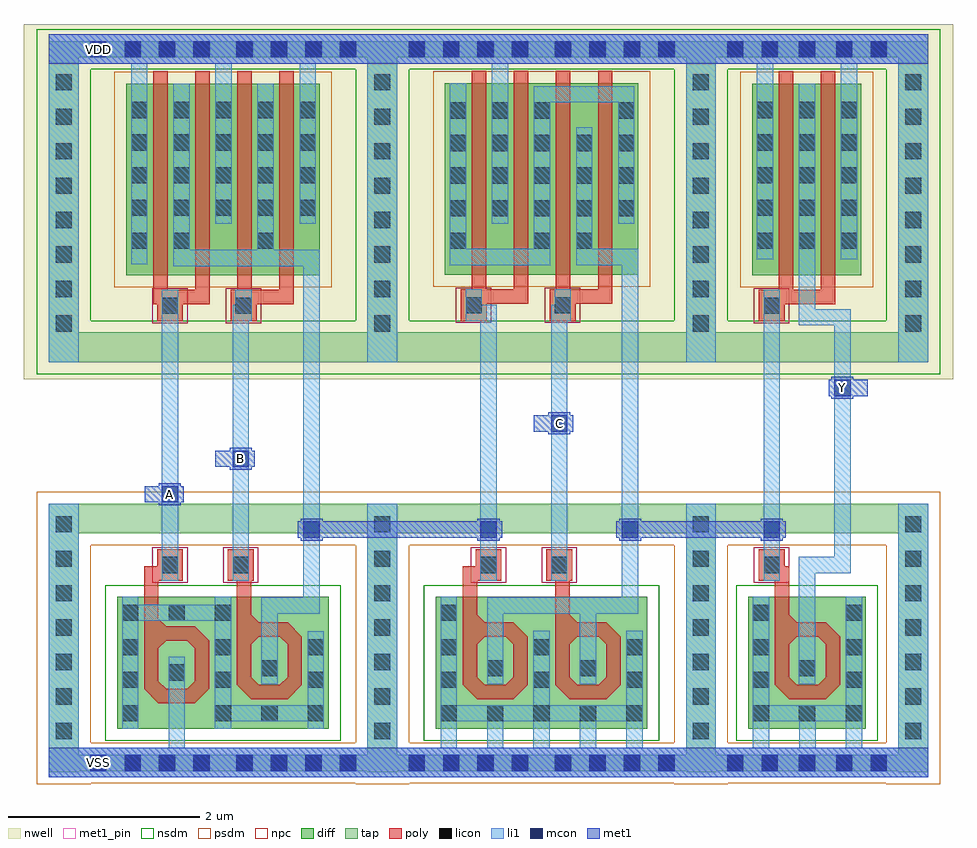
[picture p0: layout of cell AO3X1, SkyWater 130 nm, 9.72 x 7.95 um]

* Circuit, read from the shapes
.subckt AO3X1 A B C VDD VSS Y
XM1 n1 A VSS VSS sky130_fd_pr__nfet_01v8 w=2.6 l=0.149
XM2 n1 B n2 VSS sky130_fd_pr__nfet_01v8 w=2.56 l=0.1467
XM3 VSS n2 n3 VSS sky130_fd_pr__nfet_01v8 w=2.56 l=0.1451
XM4 VSS C n3 VSS sky130_fd_pr__nfet_01v8 w=2.56 l=0.1467
XM5 VSS n3 Y VSS sky130_fd_pr__nfet_01v8 w=2.56 l=0.1468
XM6 n2 A VDD VDD sky130_fd_pr__pfet_01v8 w=2 l=0.15 m=2
XM7 n2 B VDD VDD sky130_fd_pr__pfet_01v8 w=2 l=0.15 m=2
XM8 VDD n2 n4 VDD sky130_fd_pr__pfet_01v8 w=2 l=0.15 m=2
XM9 n3 C n4 VDD sky130_fd_pr__pfet_01v8 w=2 l=0.15 m=2
XM10 Y n3 VDD VDD sky130_fd_pr__pfet_01v8 w=2 l=0.15 m=2
.ends

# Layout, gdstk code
import gdstk
lib = gdstk.Library(unit=1e-6, precision=1e-09)
def R(c, l, rs):  # rectangles x0, y0, x1, y1
    for r in rs: c.add(gdstk.rectangle(r[:2], r[2:], *l))
def A(c, l, x, y, w, h, nx, ny, dx, dy):  # array of equal rectangles
    R(c, l, [(x+i*dx, y+j*dy, x+i*dx+w, y+j*dy+h) for i in range(nx) for j in range(ny)])
def P(c, l, *ps):  # polygons
    for p in ps: c.add(gdstk.Polygon(p, *l))
nwell = (64, 20)
diff = (65, 20)
tap = (65, 44)
poly = (66, 20)
licon = (66, 44)
li1 = (67, 20)
mcon = (67, 44)
met1_pin = (68, 16)
met1 = (68, 20)
nsdm = (93, 44)
psdm = (94, 20)
npc = (95, 20)

ao3x1 = lib.new_cell('AO3X1')
R(ao3x1, nwell, [(-0.42,4.16,9.3,7.875)])
R(ao3x1, diff, [(0.56,0.505,2.77,1.885), (3.89,0.505,6.1,1.885), (7.155,0.505,8.385,1.885), (0.655,5.25,2.675,7.25), (7.195,5.25,8.335,7.25), (3.985,5.255,6.005,7.255)])
A(ao3x1, tap, -0.155, 0.055, 0.31, 0.01, 3, 1, 3.33, 0)
A(ao3x1, tap, -0.155, 0.235, 0.31, 2.315, 3, 1, 3.33, 0)
A(ao3x1, tap, -0.155, 4.65, 0.31, 2.875, 3, 1, 3.33, 0)
R(ao3x1, tap, [(8.725,0.055,9.035,0.065), (-0.155,0.065,9.035,0.235), (8.725,0.235,9.035,2.55), (-0.155,2.55,9.035,2.86), (-0.155,4.34,9.035,4.65), (8.725,4.65,9.035,7.525), (-0.155,7.525,9.035,7.695)])
A(ao3x1, poly, 0.935, 5.095, 0.15, 2.285, 4, 1, 0.44, 0)
A(ao3x1, poly, 4.265, 5.1, 0.15, 2.285, 4, 1, 0.44, 0)
R(ao3x1, poly, [(0.99,0.775,1.37,0.925), (1.96,0.815,2.34,0.965), (4.32,0.815,4.7,0.965), (5.29,0.815,5.67,0.965), (7.585,0.815,7.965,0.965), (0.84,0.925,0.99,1.43), (1.37,0.925,1.52,1.43), (1.81,0.965,1.96,1.47), (2.34,0.965,2.49,1.47), (4.17,0.965,4.32,1.47), (4.7,0.965,4.85,1.47), (5.14,0.965,5.29,1.395), (5.67,0.965,5.82,1.395), (7.435,0.965,7.585,1.47), (7.965,0.965,8.115,1.47), (5.14,1.395,5.295,1.47), (5.665,1.395,5.82,1.47), (0.84,1.43,1.37,1.58), (1.81,1.47,2.34,1.62), (4.17,1.47,4.7,1.62), (5.14,1.47,5.67,1.62), (7.435,1.47,7.965,1.62), (0.84,1.58,0.99,2.055), (1.81,1.62,1.96,2.055), (4.17,1.62,4.32,2.055), (5.14,1.62,5.29,2.055), (7.435,1.62,7.585,2.055), (0.84,2.055,1.245,2.205), (1.715,2.055,1.985,2.385), (4.17,2.055,4.575,2.205), (5.045,2.055,5.315,2.385), (7.265,2.055,7.585,2.205), (0.975,2.205,1.245,2.385), (4.305,2.205,4.575,2.385), (7.265,2.205,7.535,2.385), (0.975,4.765,1.245,4.945), (1.745,4.765,2.015,4.945), (7.265,4.765,7.535,4.945), (4.15,4.77,4.42,4.95), (5.08,4.77,5.35,4.95), (0.935,4.945,1.525,5.095), (1.745,4.945,2.405,5.095), (7.265,4.945,8.065,5.095), (4.15,4.95,4.855,5.1), (5.08,4.95,5.735,5.1), (7.475,5.095,7.625,7.38), (7.915,5.095,8.065,7.38)])
P(ao3x1, poly, [(0.99,1.66),(0.99,1.58),(1.07,1.58)],
  [(1.96,1.7),(1.96,1.62),(2.04,1.62)],
  [(4.32,1.7),(4.32,1.62),(4.4,1.62)],
  [(5.29,1.7),(5.29,1.62),(5.37,1.62)],
  [(7.585,1.7),(7.585,1.62),(7.665,1.62)],
  [(1.37,1.58),(1.37,1.43),(1.52,1.43)],
  [(0.99,1.35),(0.99,1.43),(1.07,1.43)],
  [(1.29,1.43),(1.37,1.43),(1.37,1.35)],
  [(0.99,1.005),(0.99,0.925),(1.07,0.925)],
  [(1.29,0.925),(1.37,0.925),(1.37,1.005)],
  [(0.84,0.925),(0.99,0.925),(0.99,0.775)],
  [(1.37,0.775),(1.37,0.925),(1.52,0.925)],
  [(2.34,1.62),(2.34,1.47),(2.49,1.47)],
  [(1.96,1.39),(1.96,1.47),(2.04,1.47)],
  [(2.26,1.47),(2.34,1.47),(2.34,1.39)],
  [(1.96,1.045),(1.96,0.965),(2.04,0.965)],
  [(2.26,0.965),(2.34,0.965),(2.34,1.045)],
  [(1.81,0.965),(1.96,0.965),(1.96,0.815)],
  [(2.34,0.815),(2.34,0.965),(2.49,0.965)],
  [(4.7,1.62),(4.7,1.47),(4.85,1.47)],
  [(4.32,1.39),(4.32,1.47),(4.4,1.47)],
  [(4.62,1.47),(4.7,1.47),(4.7,1.39)],
  [(4.32,1.045),(4.32,0.965),(4.4,0.965)],
  [(4.62,0.965),(4.7,0.965),(4.7,1.045)],
  [(4.17,0.965),(4.32,0.965),(4.32,0.815)],
  [(4.7,0.815),(4.7,0.965),(4.85,0.965)],
  [(5.67,1.62),(5.67,1.47),(5.82,1.47)],
  [(5.295,1.395),(5.295,1.47),(5.37,1.47)],
  [(5.59,1.47),(5.665,1.47),(5.665,1.395)],
  [(5.29,1.045),(5.29,0.965),(5.37,0.965)],
  [(5.59,0.965),(5.67,0.965),(5.67,1.045)],
  [(5.14,0.965),(5.29,0.965),(5.29,0.815)],
  [(5.67,0.815),(5.67,0.965),(5.82,0.965)],
  [(7.965,1.62),(7.965,1.47),(8.115,1.47)],
  [(7.585,1.39),(7.585,1.47),(7.665,1.47)],
  [(7.885,1.47),(7.965,1.47),(7.965,1.39)],
  [(7.585,1.045),(7.585,0.965),(7.665,0.965)],
  [(7.885,0.965),(7.965,0.965),(7.965,1.045)],
  [(7.435,0.965),(7.585,0.965),(7.585,0.815)],
  [(7.965,0.815),(7.965,0.965),(8.115,0.965)])
A(ao3x1, licon, 0.275, 0.065, 0.17, 0.17, 4, 2, 0.36, 7.46)
A(ao3x1, licon, 1.805, 0.065, 0.17, 0.17, 4, 2, 0.36, 7.46)
A(ao3x1, licon, 3.605, 0.065, 0.17, 0.17, 4, 2, 0.36, 7.46)
A(ao3x1, licon, 5.135, 0.065, 0.17, 0.17, 4, 2, 0.36, 7.46)
A(ao3x1, licon, 7.295, 0.065, 0.17, 0.17, 3, 2, 0.39, 7.46)
A(ao3x1, licon, -0.085, 0.4, 0.17, 0.17, 3, 7, 3.33, 0.36)
A(ao3x1, licon, 8.795, 0.4, 0.17, 0.17, 1, 7, 0, 0.36)
A(ao3x1, licon, 1.58, 0.585, 0.17, 0.17, 3, 1, 0.485, 0)
A(ao3x1, licon, 3.94, 0.585, 0.17, 0.17, 5, 1, 0.485, 0)
A(ao3x1, licon, 0.61, 0.935, 0.17, 0.17, 3, 2, 0.97, 0.34)
A(ao3x1, licon, 3.94, 0.935, 0.17, 0.17, 3, 2, 0.97, 0.34)
A(ao3x1, licon, 0.61, 1.635, 0.17, 0.17, 3, 1, 0.485, 0)
A(ao3x1, licon, -0.085, 4.66, 0.17, 0.17, 3, 8, 3.33, 0.36)
A(ao3x1, licon, 8.795, 4.66, 0.17, 0.17, 1, 8, 0, 0.36)
A(ao3x1, licon, 7.245, 5.525, 0.17, 0.17, 3, 2, 0.44, 0.345)
A(ao3x1, licon, 4.035, 5.865, 0.17, 0.17, 5, 3, 0.44, 0.34)
A(ao3x1, licon, 0.705, 5.87, 0.17, 0.17, 5, 4, 0.44, 0.34)
A(ao3x1, licon, 7.245, 6.21, 0.17, 0.17, 3, 3, 0.44, 0.34)
A(ao3x1, licon, 4.035, 6.885, 0.17, 0.17, 3, 1, 0.44, 0)
R(ao3x1, licon, [(6.935,0.065,7.105,0.235), (8.435,0.065,8.605,0.235), (0.61,0.585,0.78,0.755), (7.205,0.585,7.375,0.755), (7.685,0.585,7.855,0.755), (8.175,0.585,8.345,0.755), (7.205,0.935,7.375,1.105), (8.175,0.935,8.345,1.105), (1.095,1.01,1.265,1.18), (2.065,1.055,2.235,1.225), (4.425,1.055,4.595,1.225), (5.395,1.055,5.565,1.225), (7.685,1.055,7.855,1.225), (7.205,1.275,7.375,1.445), (8.175,1.275,8.345,1.445), (3.94,1.635,4.11,1.805), (7.205,1.635,7.375,1.805), (8.175,1.635,8.345,1.805), (1.025,2.135,1.195,2.305), (1.765,2.135,1.935,2.305), (4.355,2.135,4.525,2.305), (5.095,2.135,5.265,2.305), (7.315,2.135,7.485,2.305), (1.025,4.845,1.195,5.015), (1.795,4.845,1.965,5.015), (7.315,4.845,7.485,5.015), (4.2,4.85,4.37,5.02), (5.13,4.85,5.3,5.02), (0.705,5.525,0.875,5.695), (1.145,5.525,1.315,5.695), (2.025,5.525,2.195,5.695), (4.035,5.525,4.205,5.695), (4.915,5.525,5.085,5.695), (5.355,5.525,5.525,5.695), (5.795,6.885,5.965,7.055), (6.935,7.525,7.105,7.695), (8.435,7.525,8.605,7.695)])
A(ao3x1, li1, -0.155, 0.31, 0.31, 2.55, 3, 1, 3.33, 0)
A(ao3x1, li1, 3.94, 0.31, 0.17, 0.275, 5, 1, 0.485, 0)
A(ao3x1, li1, 7.205, 0.31, 0.17, 0.275, 3, 1, 0.485, 0)
A(ao3x1, li1, -0.155, 4.34, 0.31, 3.12, 3, 1, 3.33, 0)
R(ao3x1, li1, [(-0.155,0,9.035,0.31), (1.095,0.31,1.265,1.26), (8.725,0.31,9.035,2.86), (0.61,0.505,0.78,1.635), (1.58,0.505,1.75,0.585), (2.55,0.505,2.72,0.585), (1.58,0.585,2.72,0.755), (3.94,0.585,6.05,0.755), (7.205,0.585,8.345,0.755), (1.58,0.755,1.75,1.635), (2.55,0.755,2.72,1.525), (3.94,0.755,4.11,1.885), (4.91,0.755,5.08,1.53), (5.88,0.755,6.05,1.53), (7.205,0.755,7.375,1.885), (8.175,0.755,8.345,1.885), (2.065,0.975,2.235,1.71), (4.425,0.975,4.595,1.71), (5.395,0.975,5.565,1.71), (7.685,0.975,7.855,2.135), (0.61,1.635,1.75,1.805), (2.065,1.71,2.675,1.88), (4.425,1.71,6.005,1.88), (0.61,1.805,0.78,1.885), (1.58,1.805,1.75,1.885), (2.505,1.88,2.675,5.345), (5.835,1.88,6.005,5.355), (1.025,2.055,1.195,5.095), (1.765,2.055,1.935,4.765), (4.355,2.055,4.525,4.77), (5.095,2.055,5.265,4.77), (7.315,2.055,7.485,5.095), (7.685,2.135,8.225,2.305), (8.055,2.305,8.225,4.725), (8.725,4.34,9.035,7.46), (7.685,4.725,8.225,4.895), (1.765,4.765,1.965,4.94), (4.2,4.77,4.525,4.94), (5.095,4.77,5.3,4.94), (7.685,4.895,7.855,7.25), (1.795,4.94,1.965,5.095), (4.2,4.94,4.37,5.1), (5.13,4.94,5.3,5.1), (1.145,5.345,2.675,5.515), (4.035,5.355,5.085,5.525), (5.355,5.355,6.005,5.525), (0.705,5.365,0.875,7.46), (7.245,5.415,7.415,7.46), (8.125,5.415,8.295,7.46), (1.145,5.515,1.315,7.25), (2.025,5.515,2.195,7.25), (4.035,5.525,4.205,7.255), (4.915,5.525,5.085,7.055), (5.355,5.525,5.525,6.795), (1.585,5.785,1.755,7.46), (2.465,5.785,2.635,7.46), (4.475,5.785,4.645,7.46), (5.795,5.785,5.965,7.055), (4.915,7.055,5.965,7.225), (-0.155,7.46,9.035,7.77)])
A(ao3x1, mcon, 0.275, 0.065, 0.17, 0.17, 4, 2, 0.36, 7.46)
A(ao3x1, mcon, 1.805, 0.065, 0.17, 0.17, 4, 2, 0.36, 7.46)
A(ao3x1, mcon, 3.605, 0.065, 0.17, 0.17, 4, 2, 0.36, 7.46)
A(ao3x1, mcon, 5.135, 0.065, 0.17, 0.17, 4, 2, 0.36, 7.46)
A(ao3x1, mcon, 7.295, 0.065, 0.17, 0.17, 3, 2, 0.39, 7.46)
A(ao3x1, mcon, 4.355, 2.505, 0.17, 0.17, 3, 1, 1.48, 0)
R(ao3x1, mcon, [(6.935,0.065,7.105,0.235), (8.435,0.065,8.605,0.235), (2.505,2.505,2.675,2.675), (1.025,2.875,1.195,3.045), (1.765,3.245,1.935,3.415), (5.095,3.615,5.265,3.785), (8.055,3.985,8.225,4.155), (6.935,7.525,7.105,7.695), (8.435,7.525,8.605,7.695)])
R(ao3x1, met1_pin, [(0.275,0.065,0.445,0.235), (1.025,2.875,1.195,3.045), (1.765,3.245,1.935,3.415), (5.095,3.615,5.265,3.785), (8.055,3.985,8.225,4.155), (0.275,7.525,0.445,7.695)])
A(ao3x1, met1, 4.325, 2.475, 0.23, 0.03, 3, 2, 1.48, 0.2)
R(ao3x1, met1, [(-0.155,0,9.035,0.31), (2.475,2.475,2.705,2.505), (2.445,2.505,4.585,2.675), (5.775,2.505,7.545,2.675), (2.475,2.675,2.705,2.705), (0.995,2.845,1.225,2.875), (0.845,2.875,1.255,3.045), (0.995,3.045,1.225,3.075), (1.735,3.215,1.965,3.245), (1.585,3.245,1.995,3.415), (1.735,3.415,1.965,3.445), (5.065,3.585,5.295,3.615), (4.915,3.615,5.325,3.785), (5.065,3.785,5.295,3.815), (8.025,3.955,8.255,3.985), (7.995,3.985,8.405,4.155), (8.025,4.155,8.255,4.185), (-0.155,7.46,9.035,7.77)])
A(ao3x1, nsdm, -0.28, 4.775, 0.56, 2.625, 3, 1, 3.33, 0)
R(ao3x1, nsdm, [(0.435,0.38,2.895,2.01), (3.765,0.38,6.225,2.01), (7.03,0.38,8.51,2.01), (-0.28,4.215,9.16,4.775), (8.6,4.775,9.16,7.4), (-0.28,7.4,9.16,7.82)])
A(ao3x1, psdm, -0.28, -0.07, 0.56, 0.01, 3, 1, 3.33, 0)
A(ao3x1, psdm, -0.28, 0.36, 0.56, 2.065, 3, 1, 3.33, 0)
R(ao3x1, psdm, [(8.6,-0.07,9.16,-0.06), (-0.28,-0.06,9.16,0.36), (8.6,0.36,9.16,2.425), (-0.28,2.425,9.16,2.985), (0.53,5.125,2.8,7.375), (7.07,5.125,8.46,7.375), (3.86,5.13,6.13,7.38)])
R(ao3x1, npc, [(0.925,2.035,1.295,2.405), (1.665,2.035,2.035,2.405), (4.255,2.035,4.625,2.405), (4.995,2.035,5.365,2.405), (7.215,2.035,7.585,2.405), (0.925,4.745,1.295,5.115), (1.695,4.745,2.065,5.115), (7.215,4.745,7.585,5.115), (4.1,4.75,4.47,5.12), (5.03,4.75,5.4,5.12)])
ao3x1.add(gdstk.Label('A', (1.11,2.96), layer=68, texttype=16))
ao3x1.add(gdstk.Label('B', (1.85,3.33), layer=68, texttype=16))
ao3x1.add(gdstk.Label('VDD', (0.36,7.61), layer=68, texttype=16))
ao3x1.add(gdstk.Label('VSS', (0.36,0.15), layer=68, texttype=16))
ao3x1.add(gdstk.Label('C', (5.18,3.7), layer=68, texttype=16))
ao3x1.add(gdstk.Label('Y', (8.14,4.07), layer=68, texttype=16))

lib.write_gds('AO3X1.gds')
